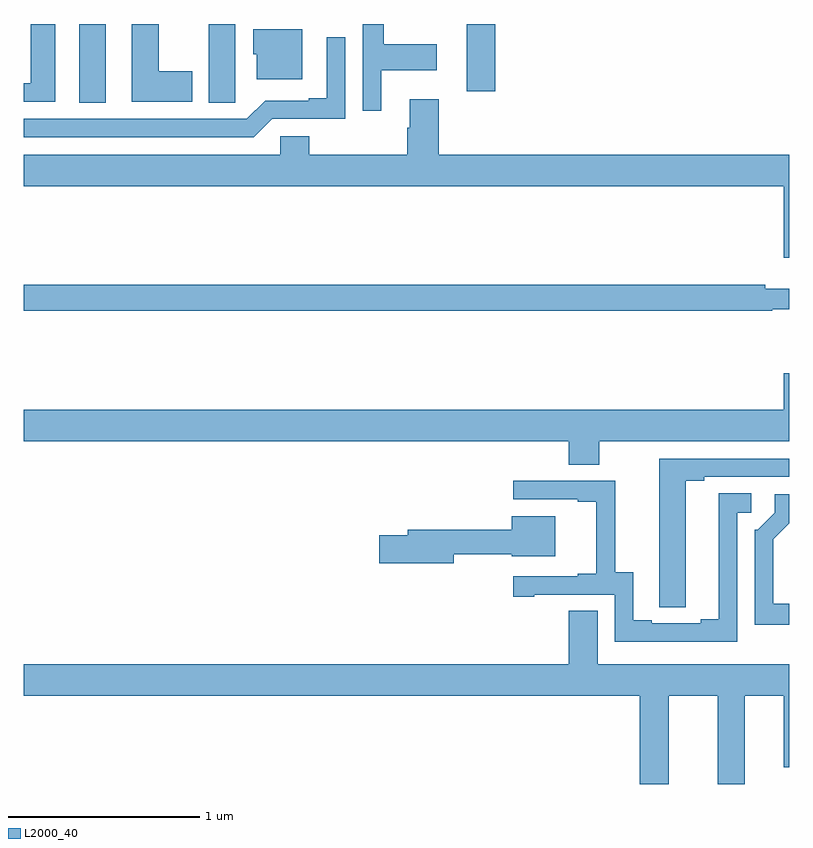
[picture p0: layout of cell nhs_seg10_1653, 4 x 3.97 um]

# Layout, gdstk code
import gdstk
lib = gdstk.Library(unit=1e-6, precision=1e-09)
def R(c, l, rs):  # rectangles x0, y0, x1, y1
    for r in rs: c.add(gdstk.rectangle(r[:2], r[2:], *l))
def P(c, l, *ps):  # polygons
    for p in ps: c.add(gdstk.Polygon(p, *l))
L2000_40 = (2000, 40)

nhs_seg10_1653 = lib.new_cell('nhs_seg10_1653')
R(nhs_seg10_1653, L2000_40, [(197.288,1298.089,197.428,1298.5), (199.316,1298.148,199.463,1298.5)])
P(nhs_seg10_1653, L2000_40, [(198.868,1298.258),(199.159,1298.258),(199.159,1298.393),(198.88,1298.393),(198.88,1298.5),(198.771,1298.5),(198.771,1298.046),(198.868,1298.046)],
  [(198.105,1298.2),(198.106,1298.2),(198.106,1298.5),(197.966,1298.5),(197.966,1298.089),(198.105,1298.089)],
  [(197.881,1298.253),(197.704,1298.253),(197.704,1298.5),(197.564,1298.5),(197.564,1298.093),(197.881,1298.093)],
  [(197.164,1298.5),(197.036,1298.5),(197.036,1298.19),(197,1298.19),(197,1298.094),(197.164,1298.094)],
  [(198.454,1298.473),(198.2,1298.473),(198.2,1298.343),(198.218,1298.343),(198.218,1298.21),(198.454,1298.21)],
  [(198.297,1298.004),(198.681,1298.004),(198.681,1298.431),(198.584,1298.431),(198.584,1298.113),(198.488,1298.113),(198.488,1298.1),(198.261,1298.1),(198.165,1298.004),(197,1298.004),(197,1297.908),(198.201,1297.908)],
  [(201,1297.816),(199.169,1297.816),(199.169,1298.107),(199.016,1298.107),(199.016,1297.958),(199.004,1297.958),(199.004,1297.816),(198.491,1297.816),(198.491,1297.914),(198.339,1297.914),(198.339,1297.816),(197,1297.816),(197,1297.652),(200.972,1297.652),(200.972,1297.278),(201,1297.278)],
  [(200.911,1297.008),(201,1297.008),(201,1297.117),(200.876,1297.117),(200.876,1297.136),(197,1297.136),(197,1297),(200.911,1297)],
  [(200.007,1296.32),(201,1296.32),(201,1296.673),(200.972,1296.673),(200.972,1296.484),(197,1296.484),(197,1296.32),(199.847,1296.32),(199.847,1296.196),(200.007,1296.196)],
  [(200.461,1296.112),(200.557,1296.112),(200.557,1296.132),(201,1296.132),(201,1296.228),(200.321,1296.228),(200.321,1295.56),(200.322,1295.56),(200.322,1295.452),(200.461,1295.452)],
  [(200.73,1295.946),(200.803,1295.946),(200.803,1296.047),(200.633,1296.047),(200.633,1295.387),(200.537,1295.387),(200.537,1295.367),(200.281,1295.367),(200.281,1295.382),(200.185,1295.382),(200.185,1295.633),(200.091,1295.633),(200.091,1296.111),(199.557,1296.111),(199.557,1296.015),(199.895,1296.015),(199.895,1296.003),(199.991,1296.003),(199.991,1295.626),(199.895,1295.626),(199.895,1295.613),(199.557,1295.613),(199.557,1295.505),(199.669,1295.505),(199.669,1295.517),(200.088,1295.517),(200.088,1295.271),(200.73,1295.271)],
  [(201,1295.47),(200.917,1295.47),(200.917,1295.806),(201,1295.889),(201,1296.042),(200.925,1296.042),(200.925,1295.946),(200.835,1295.856),(200.82,1295.856),(200.82,1295.36),(201,1295.36)],
  [(199.246,1295.728),(199.55,1295.728),(199.55,1295.717),(199.777,1295.717),(199.777,1295.926),(199.55,1295.926),(199.55,1295.857),(199.007,1295.857),(199.007,1295.828),(198.858,1295.828),(198.858,1295.681),(199.246,1295.681)],
  [(200.371,1294.988),(200.627,1294.988),(200.627,1294.527),(200.767,1294.527),(200.767,1294.988),(200.972,1294.988),(200.972,1294.614),(201,1294.614),(201,1295.152),(199.999,1295.152),(199.999,1295.432),(199.847,1295.432),(199.847,1295.152),(197,1295.152),(197,1294.988),(200.219,1294.988),(200.219,1294.527),(200.371,1294.527)])

lib.write_gds('nhs_seg10_1653.gds')
